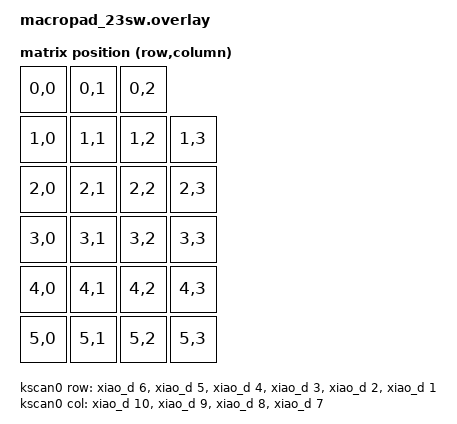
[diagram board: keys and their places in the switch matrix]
#include <dt-bindings/zmk/matrix_transform.h>
#include <dt-bindings/led/led.h>

/ {
    chosen {
        zmk,kscan = &kscan0;
    };

    default_layout: default_layout {
        compatible = "zmk,physical-layout";
        display-name = "Default Layout";
        transform = <&default_transform>;
        kscan = <&kscan0>;
    };

	default_transform: keymap_transform_0 {
		compatible = "zmk,matrix-transform";
		columns = <3>;
		rows = <4>;
	
		map = <
RC(0,0) RC(0,1) RC(0,2)
RC(1,0) RC(1,1) RC(1,2) RC(1,3)
RC(2,0) RC(2,1) RC(2,2) RC(2,3)
RC(3,0) RC(3,1) RC(3,2) RC(3,3)
RC(4,0) RC(4,1) RC(4,2) RC(4,3)
RC(5,0) RC(5,1) RC(5,2) RC(5,3)
		>;
	};

    kscan0: kscan_0 {
        compatible = "zmk,kscan-gpio-matrix";
        diode-direction = "col2row";
        wakeup-source;

        col-gpios
            = <&xiao_d 10 GPIO_ACTIVE_HIGH>
            , <&xiao_d 9 GPIO_ACTIVE_HIGH>
            , <&xiao_d 8 GPIO_ACTIVE_HIGH>
            , <&xiao_d 7 GPIO_ACTIVE_HIGH>
            ;

        row-gpios
            = <&xiao_d 6 (GPIO_ACTIVE_HIGH | GPIO_PULL_DOWN)>
            , <&xiao_d 5 (GPIO_ACTIVE_HIGH | GPIO_PULL_DOWN)>
            , <&xiao_d 4 (GPIO_ACTIVE_HIGH | GPIO_PULL_DOWN)>
            , <&xiao_d 3 (GPIO_ACTIVE_HIGH | GPIO_PULL_DOWN)>
            , <&xiao_d 2 (GPIO_ACTIVE_HIGH | GPIO_PULL_DOWN)>
            , <&xiao_d 1 (GPIO_ACTIVE_HIGH | GPIO_PULL_DOWN)>
            ;
    };

    &pinctrl {
    spi3_default: spi3_default {
        group1 {
            psels = <NRF_PSEL(SPIM_MOSI, 0, 7)>;
        };
    };

    spi3_sleep: spi3_sleep {
        group1 {
            psels = <NRF_PSEL(SPIM_MOSI, 0, 7)>;
            low-power-enable;
        };
    };
    };

    &spi3 {
    compatible = "nordic,nrf-spim";
    status = "okay";

    pinctrl-0 = <&spi3_default>;
    pinctrl-1 = <&spi3_sleep>;
    pinctrl-names = "default", "sleep";

    led_strip: ws2812@0 {
        compatible = "worldsemi,ws2812-spi";

        /* SPI */
        reg = <0>; /* ignored, but necessary for SPI bindings */
        spi-max-frequency = <4000000>;

        /* WS2812 */
        chain-length = <10>; /* number of LEDs */
        spi-one-frame = <0x70>;
        spi-zero-frame = <0x40>;
        color-mapping = <LED_COLOR_ID_GREEN
                            LED_COLOR_ID_RED
                            LED_COLOR_ID_BLUE>;
    };
};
